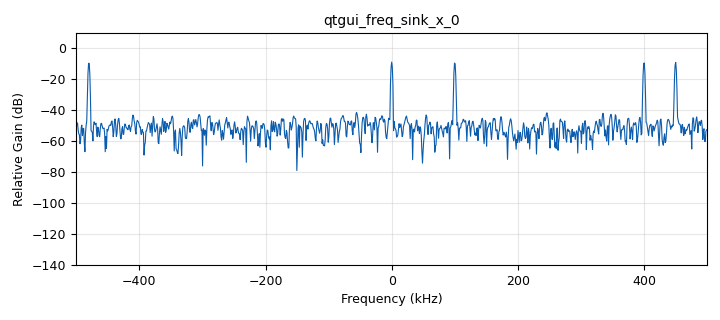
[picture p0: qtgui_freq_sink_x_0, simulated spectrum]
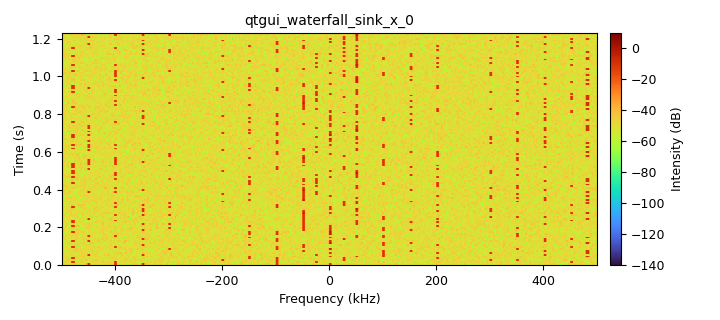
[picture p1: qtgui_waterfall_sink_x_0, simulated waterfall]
options:
  parameters:
    generate_options: qt_gui
    id: fhss_simulator
    output_language: python
    title: Not titled yet
  states: {}

blocks:
- name: samp_rate
  id: variable
  parameters:
    value: '1000000'
  states: {}
- name: blocks_add_xx_0
  id: blocks_add_xx
  parameters:
    num_inputs: '5'
    type: complex
  states: {}
- name: blocks_throttle2_0
  id: blocks_throttle2
  parameters:
    samples_per_second: samp_rate
    type: complex
  states: {}
- name: channels_channel_model_0
  id: channels_channel_model
  parameters:
    epsilon: '1.0'
    freq_offset: '0.0'
    noise_voltage: '0.2'
    seed: '0'
    taps: '1.0'
  states: {}
- name: epy_block_0
  id: epy_block
  parameters:
    _source_code: |-
      import numpy as np
      from gnuradio import gr

      class blk(gr.sync_block):
          def __init__(self):
              gr.sync_block.__init__(
                  self,
                  name="Emitter 1 Standard",
                  in_sig=None,
                  out_sig=[np.complex64]
              )
              self.sample_rate = 1000000
              self.hop_dwell_time = 0.005  # 5 ms dwell
              self.freqs = [-400000, -200000, 0, 200000, 400000]
              
              self.samples_per_hop = int(self.sample_rate * self.hop_dwell_time)
              self.current_sample_count = 0
              self.current_freq_idx = np.random.randint(0, len(self.freqs))
              self.phase = 0.0

          def work(self, input_items, output_items):
              out = output_items[0]
              noutput_items = len(out)
              if noutput_items == 0: return 0
              dt = 1.0 / self.sample_rate
              
              for i in range(noutput_items):
                  if self.current_sample_count >= self.samples_per_hop:
                      self.current_sample_count = 0
                      self.current_freq_idx = np.random.randint(0, len(self.freqs))
                  freq = self.freqs[self.current_freq_idx]
                  out[i] = np.exp(1j * self.phase)
                  self.phase = (self.phase + 2 * np.pi * freq * dt) % (2 * np.pi)
                  self.current_sample_count += 1
              return noutput_items
  states: {}
- name: epy_block_1
  id: epy_block
  parameters:
    _source_code: |-
      import numpy as np
      from gnuradio import gr

      class blk(gr.sync_block):
          def __init__(self):
              gr.sync_block.__init__(
                  self,
                  name="Emitter 2 FastWide",
                  in_sig=None,
                  out_sig=[np.complex64]
              )
              self.sample_rate = 1000000
              self.hop_dwell_time = 0.001  # 1 ms ultra-fast dwell
              self.freqs = [-450000, -300000, -150000, 150000, 300000, 450000]
              
              self.samples_per_hop = int(self.sample_rate * self.hop_dwell_time)
              self.current_sample_count = 0
              self.current_freq_idx = np.random.randint(0, len(self.freqs))
              self.phase = 0.0

          def work(self, input_items, output_items):
              out = output_items[0]
              noutput_items = len(out)
              if noutput_items == 0: return 0
              dt = 1.0 / self.sample_rate
              
              for i in range(noutput_items):
                  if self.current_sample_count >= self.samples_per_hop:
                      self.current_sample_count = 0
                      self.current_freq_idx = np.random.randint(0, len(self.freqs))
                  freq = self.freqs[self.current_freq_idx]
                  out[i] = np.exp(1j * self.phase)
                  self.phase = (self.phase + 2 * np.pi * freq * dt) % (2 * np.pi)
                  self.current_sample_count += 1
              return noutput_items
  states: {}
- name: epy_block_2
  id: epy_block
  parameters:
    _source_code: |-
      import numpy as np
      from gnuradio import gr

      class blk(gr.sync_block):
          def __init__(self):
              gr.sync_block.__init__(
                  self,
                  name="Emitter 5 CenterBiased",
                  in_sig=None,
                  out_sig=[np.complex64]
              )
              self.sample_rate = 1000000
              self.hop_dwell_time = 0.008  # 8 ms dwell
              self.freqs = [-50000, -25000, 0, 25000, 50000]
              
              self.samples_per_hop = int(self.sample_rate * self.hop_dwell_time)
              self.current_sample_count = 0
              self.current_freq_idx = np.random.randint(0, len(self.freqs))
              self.phase = 0.0

          def work(self, input_items, output_items):
              out = output_items[0]
              noutput_items = len(out)
              if noutput_items == 0: return 0
              dt = 1.0 / self.sample_rate
              
              for i in range(noutput_items):
                  if self.current_sample_count >= self.samples_per_hop:
                      self.current_sample_count = 0
                      self.current_freq_idx = np.random.randint(0, len(self.freqs))
                  freq = self.freqs[self.current_freq_idx]
                  out[i] = np.exp(1j * self.phase)
                  self.phase = (self.phase + 2 * np.pi * freq * dt) % (2 * np.pi)
                  self.current_sample_count += 1
              return noutput_items
  states: {}
- name: epy_block_3
  id: epy_block
  parameters:
    _source_code: |-
      import numpy as np
      from gnuradio import gr

      class blk(gr.sync_block):
          def __init__(self):
              gr.sync_block.__init__(
                  self,
                  name="Emitter 4 EdgeHopper",
                  in_sig=None,
                  out_sig=[np.complex64]
              )
              self.sample_rate = 1000000
              self.hop_dwell_time = 0.003  # 3 ms dwell
              self.freqs = [-480000, -350000, 350000, 480000]
              
              self.samples_per_hop = int(self.sample_rate * self.hop_dwell_time)
              self.current_sample_count = 0
              self.current_freq_idx = np.random.randint(0, len(self.freqs))
              self.phase = 0.0

          def work(self, input_items, output_items):
              out = output_items[0]
              noutput_items = len(out)
              if noutput_items == 0: return 0
              dt = 1.0 / self.sample_rate
              
              for i in range(noutput_items):
                  if self.current_sample_count >= self.samples_per_hop:
                      self.current_sample_count = 0
                      self.current_freq_idx = np.random.randint(0, len(self.freqs))
                  freq = self.freqs[self.current_freq_idx]
                  out[i] = np.exp(1j * self.phase)
                  self.phase = (self.phase + 2 * np.pi * freq * dt) % (2 * np.pi)
                  self.current_sample_count += 1
              return noutput_items
  states: {}
- name: epy_block_4
  id: epy_block
  parameters:
    _source_code: |-
      import numpy as np
      from gnuradio import gr

      class blk(gr.sync_block):
          def __init__(self):
              gr.sync_block.__init__(
                  self,
                  name="Emitter 3 SlowNarrow",
                  in_sig=None,
                  out_sig=[np.complex64]
              )
              self.sample_rate = 1000000
              self.hop_dwell_time = 0.020  # 20 ms slow dwell
              self.freqs = [-100000, -50000, 50000, 100000]
              
              self.samples_per_hop = int(self.sample_rate * self.hop_dwell_time)
              self.current_sample_count = 0
              self.current_freq_idx = np.random.randint(0, len(self.freqs))
              self.phase = 0.0

          def work(self, input_items, output_items):
              out = output_items[0]
              noutput_items = len(out)
              if noutput_items == 0: return 0
              dt = 1.0 / self.sample_rate
              
              for i in range(noutput_items):
                  if self.current_sample_count >= self.samples_per_hop:
                      self.current_sample_count = 0
                      self.current_freq_idx = np.random.randint(0, len(self.freqs))
                  freq = self.freqs[self.current_freq_idx]
                  out[i] = np.exp(1j * self.phase)
                  self.phase = (self.phase + 2 * np.pi * freq * dt) % (2 * np.pi)
                  self.current_sample_count += 1
              return noutput_items
  states: {}
- name: qtgui_freq_sink_x_0
  id: qtgui_freq_sink_x
  parameters:
    bw: samp_rate
    fc: '0'
    fftsize: '1024'
    type: complex
  states: {}
- name: qtgui_waterfall_sink_x_0
  id: qtgui_waterfall_sink_x
  parameters:
    bw: samp_rate
    fc: '0'
    fftsize: '1024'
    type: complex
  states: {}

connections:
- [blocks_add_xx_0, '0', channels_channel_model_0, '0']
- [blocks_throttle2_0, '0', qtgui_freq_sink_x_0, '0']
- [blocks_throttle2_0, '0', qtgui_waterfall_sink_x_0, '0']
- [channels_channel_model_0, '0', blocks_throttle2_0, '0']
- [epy_block_0, '0', blocks_add_xx_0, '0']
- [epy_block_1, '0', blocks_add_xx_0, '1']
- [epy_block_2, '0', blocks_add_xx_0, '4']
- [epy_block_3, '0', blocks_add_xx_0, '3']
- [epy_block_4, '0', blocks_add_xx_0, '2']

metadata:
  file_format: 1
  grc_version: 3.10.12.0
